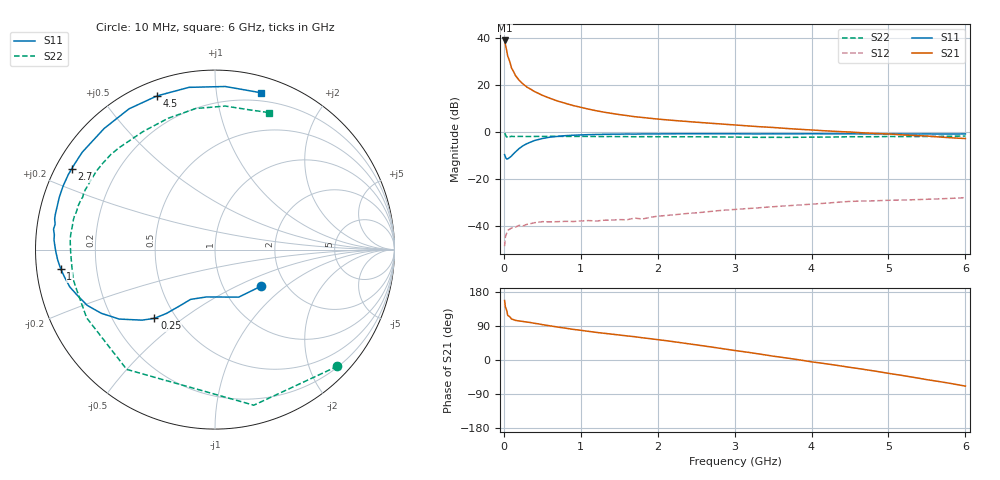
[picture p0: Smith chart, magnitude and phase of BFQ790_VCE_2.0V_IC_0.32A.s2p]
! Infineon Technologies  Discrete & RF Semiconductors
! BFQ790
! VCE =  2.0 V,  IC = 0.32 A
! Common Emitter S-Parameters:  May 2015
# GHz  S  MA  R  50
!  f  S11  S21  S12  S22
! GHz  MAG  ANG  MAG  ANG  MAG  ANG  MAG  ANG
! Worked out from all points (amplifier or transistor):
!   77 points, 10 MHz to 6 GHz, reference 50 ohm
!   highest |S21| = 39.0 dB at 10 MHz (marker M1)
!   |S21| within 3 dB of that: start of sweep to 28.93 MHz
!   unconditionally stable (mu >= 1): 214.7 MHz to end of sweep
!   at 130 MHz: K = 0.79, MSG = 33.1 dB, |S12| = -40.7 dB
!   at 2.2 GHz: K = 1.32, MAG = 16.7 dB, |S12| = -35.3 dB
!   at 6 GHz: K = 1.10, MAG = 10.7 dB, |S12| = -28.0 dB
!   S11 on the Smith chart (normalised r, x): 10 MHz: 1.51, -0.69; 250 MHz: 0.38, -0.40; 1 GHz: 0.07, -0.06; 2.7 GHz: 0.05, +0.26; 4.5 GHz: 0.07, +0.69; 6 GHz: 0.13, +1.33
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0.01  0.3284 -38.2  89.09 157.0  0.0037 66.3  0.9424 -43.6
0.02  0.2959 -63.5  73.43 140.3  0.0058 46.9  0.8935 -76.0
0.05  0.2681 -100.3  41.43 117.7  0.008 29.0  0.8293 -126.4
0.1  0.3089 -116.1  22.92 107.9  0.009 18.7  0.8099 -152.0
0.15  0.375 -122.5  16.04 104.6  0.0094 19.1  0.8019 -162.6
0.2  0.446 -127.2  12.59 103.0  0.0103 21.4  0.8069 -167.9
0.25  0.5106 -131.4  10.51 101.6  0.01 18.2  0.804 -171.6
0.3  0.5647 -135.9  9.047 100.2  0.0108 13.6  0.8028 -174.5
0.4  0.6599 -144.1  7.248 96.8  0.0117 15.8  0.8041 -178.6
0.5  0.7258 -150.7  6.053 93.4  0.0123 12.6  0.8061 178.4
0.7  0.8067 -161.4  4.562 86.9  0.0123 14.0  0.8079 173.6
0.9  0.8529 -169.8  3.664 80.9  0.0124 14.2  0.8054 170.1
1  0.8663 -172.9  3.356 78.4  0.0127 10.9  0.8065 168.4
1.1  0.8783 -176.2  3.074 75.6  0.013 15.2  0.8049 166.7
1.5  0.8989 174.7  2.352 66.0  0.0136 18.4  0.7985 161.0
2.1  0.9127 163.4  1.826 51.2  0.0166 18.9  0.7927 152.1
2.7  0.9164 150.7  1.531 34.2  0.0204 13.4  0.7868 140.1
3.1  0.914 141.5  1.375 22.4  0.023 9.1  0.7751 130.9
4.1  0.9157 119.3  1.079 -7.5  0.0298 -6.9  0.7775 107.2
4.5  0.9153 110.7  0.999 -19.4  0.0333 -14.8  0.7934 97.8
5.1  0.9109 96.6  0.886 -38.3  0.0353 -27.9  0.7999 83.9
6  0.9106 73.7  0.726 -68.9  0.04 -49.7  0.8205 68.5
